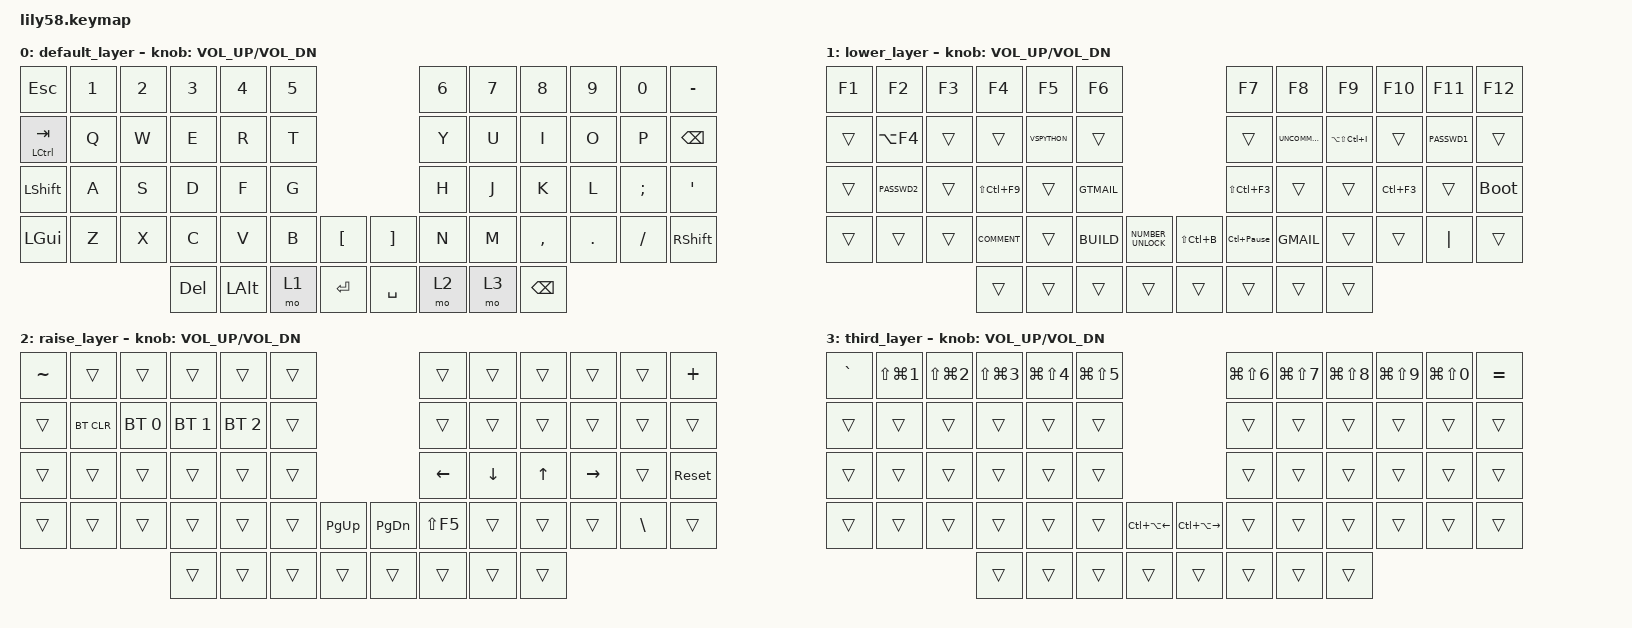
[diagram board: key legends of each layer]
/*
 * Copyright (c) 2020 The ZMK Contributors
 *
 * SPDX-License-Identifier: MIT
 */

#include <behaviors.dtsi>
#include <dt-bindings/zmk/bt.h>
#include <dt-bindings/zmk/keys.h>

/ {
    macros {
        UCMAIL: UCMAIL {
            compatible = "zmk,behavior-macro";
            #binding-cells = <0>;
            bindings = <&kp S &kp H &kp A &kp R &kp M &kp A &kp M &kp M &kp AT &kp M &kp A &kp I &kp L &kp DOT &kp U &kp C &kp DOT &kp E &kp D &kp U>;
            label = "UCMAIL";
        };

        GTMAIL: GTMAIL {
            compatible = "zmk,behavior-macro";
            #binding-cells = <0>;
            bindings = <&kp M &kp DOT &kp S &kp H &kp A &kp R &kp M &kp A &kp AT &kp G &kp T &kp I &kp S &kp O &kp F &kp T &kp DOT &kp C &kp O &kp M>;
            label = "GTMAIL";
        };

        GMAIL: GMAIL {
            compatible = "zmk,behavior-macro";
            #binding-cells = <0>;
            bindings = <&kp M &kp A &kp Y &kp A &kp N &kp K &kp S &kp H &kp A &kp R &kp M &kp A &kp N1 &kp N8 &kp N0 &kp N6 &kp AT &kp G &kp M &kp A &kp I &kp L &kp DOT &kp C &kp O &kp M>;
            label = "GMAIL";
        };

        PASSWD1: PASSWD1 {
            compatible = "zmk,behavior-macro";
            #binding-cells = <0>;
            bindings = <&kp W &kp I &kp N &kp AT &kp LS(S) &kp P &kp R &kp I &kp N &kp G &kp N2 &kp N0 &kp N2 &kp N6>;
            label = "PASSWD1";
        };

        PASSWD2: PASSWD2 {
            compatible = "zmk,behavior-macro";
            #binding-cells = <0>;
            bindings = <&kp A &kp E &kp E &kp M &kp N1 &kp N5 &kp AT &kp LS(U) &kp LS(C)>;
            label = "PASSWD2";
        };

        BUILD: BUILD {
            compatible = "zmk,behavior-macro";
            #binding-cells = <0>;
            bindings =
                <&macro_press>,
                <&kp LEFT_CONTROL>,
                <&macro_tap>,
                <&kp S>,
                <&macro_press>,
                <&kp LEFT_SHIFT>,
                <&macro_tap>,
                <&kp B>,
                <&macro_release>,
                <&kp LEFT_SHIFT>,
                <&macro_release>,
                <&kp LEFT_CONTROL>;

            label = "BUILD";
        };

        COMMENT: COMMENT {
            compatible = "zmk,behavior-macro";
            #binding-cells = <0>;
            bindings =
                <&macro_press>,
                <&kp LEFT_CONTROL>,
                <&macro_tap>,
                <&kp K &kp C>,
                <&macro_release>,
                <&kp LEFT_CONTROL>;

            label = "COMMENT";
        };

        UNCOMMENT: UNCOMMENT {
            compatible = "zmk,behavior-macro";
            #binding-cells = <0>;
            bindings =
                <&macro_press>,
                <&kp LEFT_CONTROL>,
                <&macro_tap>,
                <&kp K &kp U>,
                <&macro_release>,
                <&kp LEFT_CONTROL>;

            label = "UNCOMMENT";
        };

        NUMBER_UNLOCK: NUMBER_UNLOCK {
            compatible = "zmk,behavior-macro";
            #binding-cells = <0>;
            bindings =
                <&macro_press>,
                <&kp LEFT_CONTROL>,
                <&macro_press>,
                <&kp LEFT_ALT>,
                <&macro_tap>,
                <&kp DELETE>,
                <&macro_release>,
                <&kp LEFT_ALT>,
                <&macro_release>,
                <&kp LEFT_CONTROL>,
                <&macro_wait_time 1000>,
                <&kp N1 &kp N8 &kp N0 &kp N6 &kp N9 &kp N1>;

            label = "NUMBER_UNLOCK";
        };

        VSPYTHON: VSPYTHON {
            compatible = "zmk,behavior-macro";
            #binding-cells = <0>;
            bindings = <&kp COLON &kp W &kp RETURN &kp LC(F5)>;
            label = "VSPYTHON";
        };
    };

    keymap {
        compatible = "zmk,keymap";

        default_layer {
            // -------------------------------------------------------------------------------------------------------------
            // |  ESC   |  1  |  2  |  3   |  4   |  5   |                   |  6   |  7    |  8    |  9   |   0   |   -   |
            // | LC_TAB |  Q  |  W  |  E   |  R   |  T   |                   |  Y   |  U    |  I    |  O   |   P   |  BSPC |
            // |  CTRL  |  A  |  S  |  D   |  F   |  G   |                   |  H   |  J    |  K    |  L   |   ;   |   '   |
            // | SHIFT  |  Z  |  X  |  C   |  V   |  B   |   "["  |  |  "]"  |  N   |  M    |  ,    |  .   |   /   | SHIFT |
            //                     | ALT  | ALT  |LAYER1|  ENTER  |  | SPACE |LAYER2| DEL   | DEL   |

            bindings = <
&kp ESC        &kp N1  &kp N2  &kp N3   &kp N4    &kp N5                         &kp N6  &kp N7  &kp N8         &kp N9   &kp N0    &kp MINUS
&mt LCTRL TAB  &kp Q   &kp W   &kp E    &kp R     &kp T                          &kp Y   &kp U   &kp I          &kp O    &kp P     &kp BSPC
&kp LSHFT      &kp A   &kp S   &kp D    &kp F     &kp G                          &kp H   &kp J   &kp K          &kp L    &kp SEMI  &kp SQT
&kp LGUI       &kp Z   &kp X   &kp C    &kp V     &kp B   &kp LBKT    &kp RBKT   &kp N   &kp M   &kp COMMA      &kp DOT  &kp FSLH  &kp RSHFT
                               &kp DEL  &kp LALT  &mo 1   &kp RET     &kp SPACE  &mo 2   &mo 3   &kp BACKSPACE
            >;

            sensor-bindings = <&inc_dec_kp C_VOL_UP C_VOL_DN>;
        };

        lower_layer {
            // -------------------------------------------------------------------------------------------------------------
            // |  F1   |  F2 |  F3 |  F4  |  F5  |  F6  |                   |  F7   |  F8   |  F9   |  F10 |  F11  |  F12  |
            // |       |     |     |      |      |      |                   |       |       |       |      |       |       |
            // |       |     |     |      |      |      |                   |       |       |       |      |       |       |
            // |       |     |     |      |      |      |        |  |       | NOBLD |       |       |      |  "|"  |       |
            //                     |      |      |      |        |  |       |       |       |       |

            bindings = <
&kp F1  &kp F2      &kp F3  &kp F4          &kp F5     &kp F6                                    &kp F7               &kp F8      &kp F9             &kp F10     &kp F11   &kp F12
&trans  &kp LA(F4)  &trans  &trans          &VSPYTHON  &trans                                    &trans               &UNCOMMENT  &kp LA(LS(LC(I)))  &trans      &PASSWD1  &trans
&trans  &PASSWD2    &trans  &kp LS(LC(F9))  &trans     &GTMAIL                                   &kp LS(LC(F3))       &trans      &trans             &kp LC(F3)  &trans    &bootloader
&trans  &trans      &trans  &COMMENT        &trans     &BUILD   &NUMBER_UNLOCK    &kp LS(LC(B))  &kp LC(PAUSE_BREAK)  &GMAIL      &trans             &trans      &kp PIPE  &trans
                            &trans          &trans     &trans   &trans            &trans         &trans               &trans      &trans
            >;

            sensor-bindings = <&inc_dec_kp C_VOL_UP C_VOL_DN>;
        };

        raise_layer {
            // --------------------------------------------------------------------------------------------------------------
            // |   ~   |     |     |      |      |       |                   |       |       |       |      |       |   +   |
            // | BTCLR | BT1 | BT2 |  BT3 |  BT4 |  BT5  |                   |       |       |       |      |       |       |
            // |       |     |     |      |      |       |                   | LEFT  | DOWN  |  UP   | RGHT |       |       |
            // |       |     |     |      |      |BLDONLY|        |  |       |NODEBUG|       |       |      |   \   |       |
            //                     |      |      |       |        |  |       |       |       |       |

            bindings = <
&kp TILDE  &trans      &trans        &trans        &trans        &trans                            &trans      &trans    &trans  &trans     &trans    &kp PLUS
&trans     &bt BT_CLR  &bt BT_SEL 0  &bt BT_SEL 1  &bt BT_SEL 2  &trans                            &trans      &trans    &trans  &trans     &trans    &trans
&trans     &trans      &trans        &trans        &trans        &trans                            &kp LEFT    &kp DOWN  &kp UP  &kp RIGHT  &trans    &sys_reset
&trans     &trans      &trans        &trans        &trans        &trans  &kp PAGE_UP    &kp PG_DN  &kp LS(F5)  &trans    &trans  &trans     &kp BSLH  &trans
                                     &trans        &trans        &trans  &trans         &trans     &trans      &trans    &trans
            >;

            sensor-bindings = <&inc_dec_kp C_VOL_UP C_VOL_DN>;
        };

        third_layer {
            // ---------------------------------------------------------------------------------------------------------------
            // |       |     |     |      |ALT_F4|      |                    |       |       |       |       |       |       |
            // |       |     |     |      |      |      |                    |       |       |       |       |       |       |
            // |       |     |     |DLBRKS|      |      |                    |PRVSRCH|       |       |NXTSRCH|       |       |
            // |       |     |     |      |      |      | PAGEUP |  | PAGEDN |       |       |       |       |       |       |
            //                     |      |      |      |        |  |        |       |       |       |

            bindings = <
&kp GRAVE  &kp LS(LG(N1))  &kp LS(LG(N2))  &kp LS(LG(N3))  &kp LG(LS(N4))  &kp LG(LS(N5))                                                     &kp LG(LS(N6))  &kp LG(LS(N7))  &kp LG(LS(N8))  &kp LG(LS(N9))  &kp LG(LS(N0))  &kp EQUAL
&trans     &trans          &trans          &trans          &trans          &trans                                                             &trans          &trans          &trans          &trans          &trans          &trans
&trans     &trans          &trans          &trans          &trans          &trans                                                             &trans          &trans          &trans          &trans          &trans          &trans
&trans     &trans          &trans          &trans          &trans          &trans          &kp LC(LA(LEFT_ARROW))    &kp LC(LA(RIGHT_ARROW))  &trans          &trans          &trans          &trans          &trans          &trans
                                           &trans          &trans          &trans          &trans                    &trans                   &trans          &trans          &trans
            >;

            sensor-bindings = <&inc_dec_kp C_VOL_UP C_VOL_DN>;
        };
    };
};
